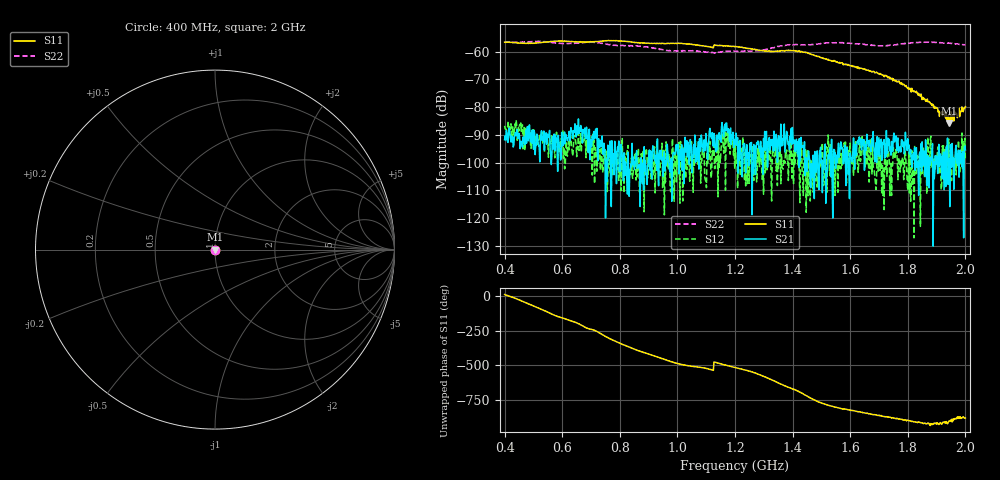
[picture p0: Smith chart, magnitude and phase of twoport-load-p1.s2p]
! PocketVna 1.60  pocketvna.com
! Live measurements ((Reflection-S11, Transmission-S21, Transmission-S12, Reflection-S22) Linear 400000000-2000000000/800 non-calibrated)
# Hz S RI R 50
! Hz  ReS11  ImS11  ReS21  ImS21  ReS12  ImS12  ReS22  ImS22
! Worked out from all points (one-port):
!   800 points, 400 MHz to 2 GHz, reference 50 ohm
!   lowest |S11| = -85.7 dB at 1.944 GHz (marker M1), VSWR 1.00, Z = 50 + j0.000413 ohm
!   |S11| at or under -10 dB: start of sweep to end of sweep
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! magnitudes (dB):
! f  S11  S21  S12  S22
! 400 MHz  -56.6  -91.7  -86.8  -56.5
! 480.1 MHz  -56.9  -87.0  -89.6  -56.5
! 586.2 MHz  -56.2  -90.2  -95.0  -57.0
! 668.3 MHz  -56.6  -88.0  -92.0  -56.8
! 706.4 MHz  -56.4  -91.9  -89.9  -56.6
! 782.5 MHz  -56.1  -92.3  -94.3  -57.7
! 862.6 MHz  -56.9  -101.8  -98.7  -58.0
! 934.7 MHz  -57.1  -108.3  -99.9  -59.1
! 1.011 GHz  -57.0  -95.2  -92.4  -59.8
! 1.125 GHz  -58.7  -91.3  -94.8  -60.4
! 1.135 GHz  -57.7  -90.7  -100.1  -60.4
! 1.201 GHz  -58.1  -93.3  -93.4  -59.9
! 1.305 GHz  -59.8  -95.6  -103.7  -59.3
! 1.407 GHz  -59.7  -92.5  -101.0  -57.5
! 1.467 GHz  -61.1  -102.6  -102.3  -57.5
! 1.565 GHz  -64.1  -94.9  -100.1  -56.8
! 1.688 GHz  -67.6  -95.8  -107.4  -57.7
! 1.734 GHz  -69.1  -93.6  -96.7  -57.8
! 1.83 GHz  -74.3  -94.6  -103.1  -56.7
! 1.892 GHz  -80.4  -105.8  -100.7  -56.7
! 1.944 GHz  -85.7  -98.6  -101.2  -57.0
! 2 GHz  -79.8  -95.4  -99.1  -57.5
